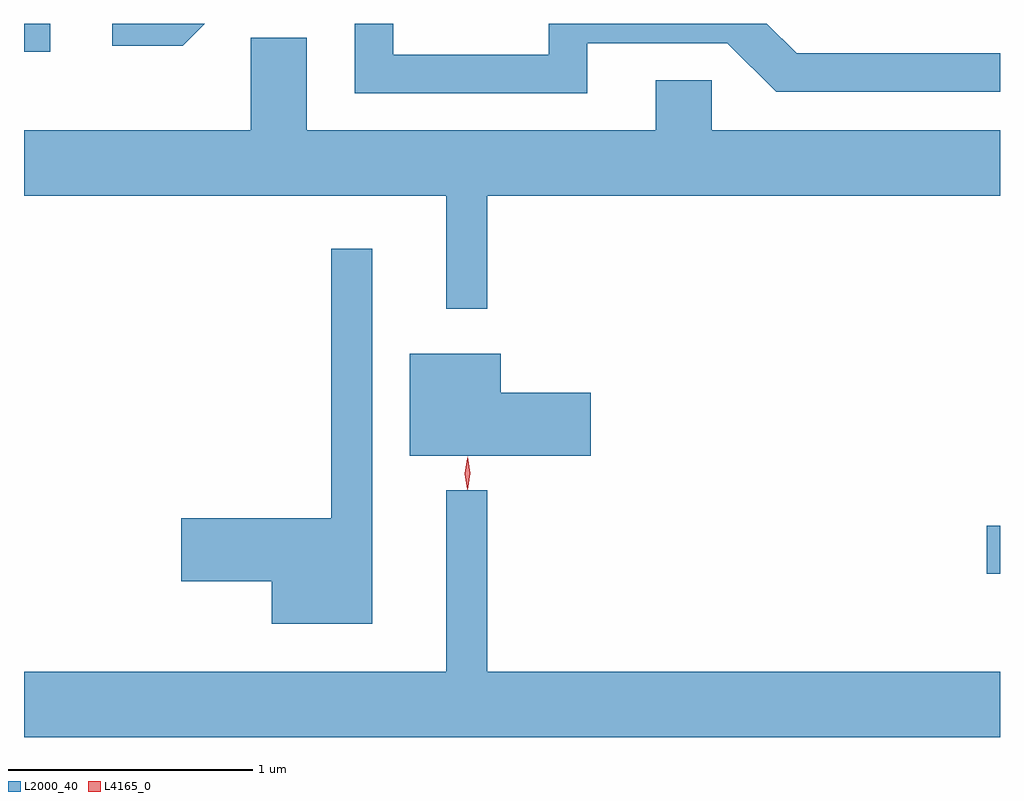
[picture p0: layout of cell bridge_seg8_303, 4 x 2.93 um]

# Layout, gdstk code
import gdstk
lib = gdstk.Library(unit=1e-6, precision=1e-09)
def R(c, l, rs):  # rectangles x0, y0, x1, y1
    for r in rs: c.add(gdstk.rectangle(r[:2], r[2:], *l))
def P(c, l, *ps):  # polygons
    for p in ps: c.add(gdstk.Polygon(p, *l))
L2000_40 = (2000, 40)
L4165_0 = (4165, 0)

bridge_seg8_303 = lib.new_cell('bridge_seg8_303')
R(bridge_seg8_303, L2000_40, [(985.976,1888.146,986.031,1888.344), (982.031,1890.286,982.139,1890.401)])
P(bridge_seg8_303, L2000_40, [(982.772,1890.401),(982.393,1890.401),(982.393,1890.311),(982.682,1890.311)],
  [(984.339,1890.321),(984.914,1890.321),(985.114,1890.121),(986.031,1890.121),(986.031,1890.279),(985.197,1890.279),(985.075,1890.401),(984.181,1890.401),(984.181,1890.274),(983.544,1890.274),(983.544,1890.401),(983.386,1890.401),(983.386,1890.116),(984.339,1890.116)],
  [(983.929,1889.696),(986.031,1889.696),(986.031,1889.964),(984.849,1889.964),(984.849,1890.169),(984.621,1890.169),(984.621,1889.964),(983.189,1889.964),(983.189,1890.344),(982.961,1890.344),(982.961,1889.964),(982.031,1889.964),(982.031,1889.696),(983.761,1889.696),(983.761,1889.233),(983.929,1889.233)],
  [(983.459,1889.478),(983.291,1889.478),(983.291,1888.374),(982.676,1888.374),(982.676,1888.116),(983.046,1888.116),(983.046,1887.941),(983.459,1887.941)],
  [(984.354,1888.889),(983.984,1888.889),(983.984,1889.049),(983.611,1889.049),(983.611,1888.631),(984.354,1888.631)],
  [(986.031,1887.744),(983.929,1887.744),(983.929,1888.488),(983.761,1888.488),(983.761,1887.744),(982.031,1887.744),(982.031,1887.476),(986.031,1887.476)])
P(bridge_seg8_303, L4165_0, [(983.849,1888.49),(983.84,1888.558),(983.849,1888.626),(983.85,1888.626),(983.85,1888.626),(983.86,1888.558),(983.85,1888.49),(983.85,1888.49)],
  [(983.847,1888.493),(983.847,1888.493),(983.837,1888.556),(983.847,1888.619),(983.847,1888.62),(983.848,1888.619),(983.858,1888.556),(983.848,1888.493)])

lib.write_gds('bridge_seg8_303.gds')
